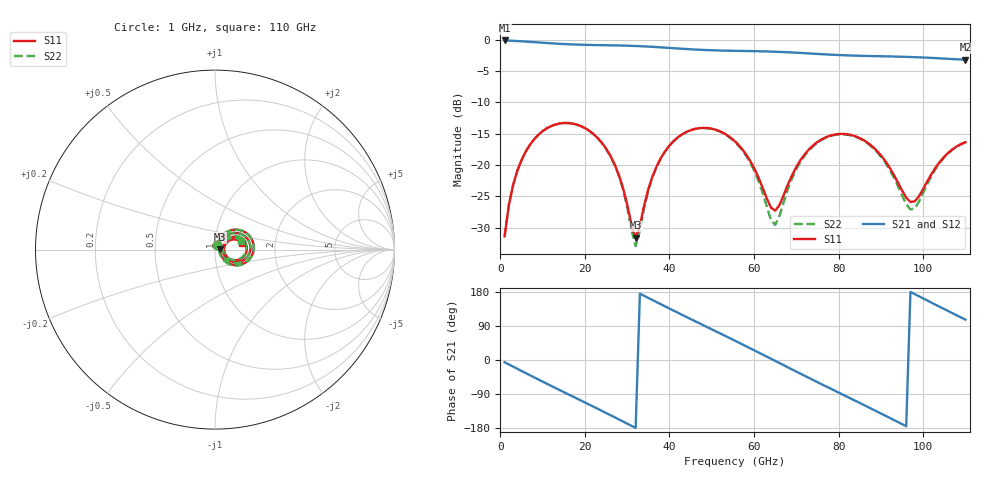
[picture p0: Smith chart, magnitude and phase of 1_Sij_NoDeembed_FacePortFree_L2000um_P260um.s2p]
! Touchstone file exported from HFSS 2024.2.0
!  File:  C:/Users/vaintrug/Documents/Ansoft_Workspace/Comparaison_Calculs_HFSS/1_VarPort.aedt
!  Generated:  03:22:19 PM Jan 21, 2025
!  Design:  1_NoDeembed_FacePortFree
!  Project:  1_VarPort
!  Setup:  Setup1
!  Solution:  Sweep
! Variables:
!  $Lenght = 2000um
!  $PortSize = 260um
!  Gap = 30um
!  Th = 2um
!  X_centralStrip = 20um
!  X_masse = 200um
!  Y_Sub = 2mm
!  Z_Box = 400um
!  Z_Sub = 200um
# GHz S MA R 50.000000
! Terminal data exported
! Port[1] = 1
! Port[2] = 2
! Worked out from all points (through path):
!   110 points, 1 GHz to 110 GHz, reference 50 ohm
!   highest |S21| = -0.13 dB at 1 GHz (marker M1); lowest = -3.2 dB at 110 GHz (marker M2)
!   group delay of S21, straight-line fit = 15.4 ps
!   lowest |S11| = -31.6 dB at 32 GHz (marker M3), VSWR 1.05, Z = 52.7 + j0.084 ohm
!   |S11| at or under -10 dB: start of sweep to end of sweep
!   |S22| runs from -32.9 to -13.3 dB; largest |S21 - S12| = 2e-15
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1  0.02707 60.6  0.9854 -5.9  0.9854 -5.9  0.02707 60.6
! Gamma 6.08037884953325 50.2154976659853 6.14587160694102 50.2195227362921
! Port Impedance 50 0 50 0
3  0.06924 65.6  0.9784 -17.4  0.9784 -17.4  0.06924 65.5
7  0.1455 48.8  0.9605 -40.3  0.9605 -40.3  0.1454 48.6
13  0.2106 18.2  0.9308 -73.8  0.9308 -73.8  0.2105 17.7
20  0.1974 -16.7  0.9094 -112.1  0.9094 -112.1  0.197 -17.6
27  0.102 -45.9  0.9001 -151.0  0.9001 -151.0  0.1009 -48.1
32  0.02644 1.7  0.8899 -179.2  0.8899 -179.2  0.0226 1.9
35  0.06435 52.6  0.8801 163.8  0.8801 163.8  0.06314 55.4
38  0.1145 48.0  0.8679 146.9  0.8679 146.9  0.1139 49.2
43  0.176 27.7  0.8461 119.1  0.8461 119.1  0.1756 27.9
47  0.1971 9.8  0.8313 97.3  0.8313 97.3  0.1965 9.4
56  0.1489 -28.0  0.814 48.1  0.814 48.1  0.147 -30.3
60  0.09497 -37.5  0.8098 25.8  0.8098 25.8  0.09119 -42.0
65  0.04338 4.0  0.8013 -2.3  0.8013 -2.3  0.03344 5.9
70  0.09661 39.1  0.787 -30.5  0.787 -30.5  0.09293 45.0
74  0.1438 29.1  0.7731 -52.8  0.7731 -52.8  0.1417 32.9
83  0.1738 -6.1  0.7475 -102.4  0.7475 -102.4  0.1722 -4.4
92  0.09652 -32.3  0.7351 -152.2  0.7351 -152.2  0.09309 -32.9
96  0.05504 -16.4  0.7292 -174.8  0.7292 -174.8  0.04891 -16.4
98  0.05137 8.1  0.7252 173.9  0.7252 173.9  0.04514 12.9
104  0.1067 31.1  0.7095 140.0  0.7095 140.0  0.1049 36.4
110  0.1522 13.6  0.6917 106.5  0.6917 106.5  0.1517 17.5
